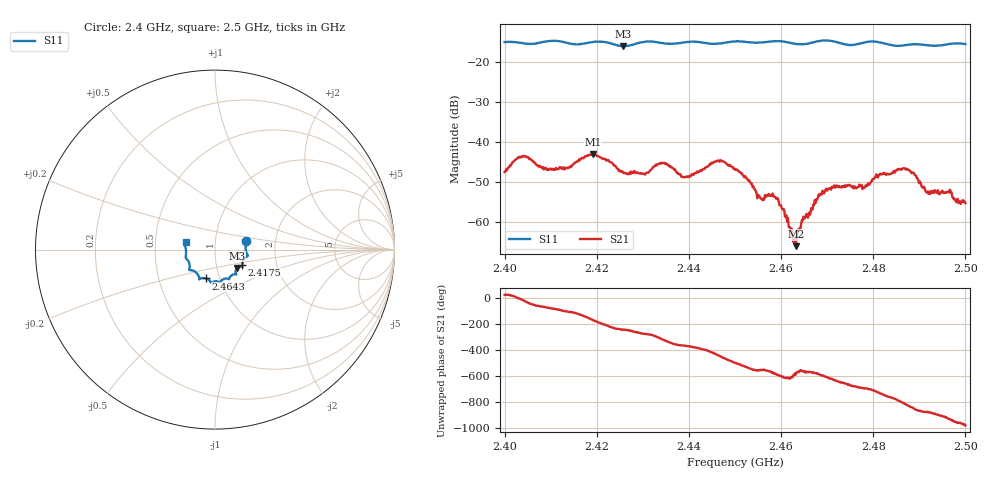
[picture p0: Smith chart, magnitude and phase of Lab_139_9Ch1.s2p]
# Hz S RI R 50
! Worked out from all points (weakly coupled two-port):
!   601 points, 2.4 GHz to 2.5 GHz, reference 50 ohm
!   highest |S21| = -42.90 dB at 2.4192 GHz (marker M1); lowest = -66.0 dB at 2.4632 GHz (marker M2)
!   lowest |S11| = -15.9 dB at 2.4257 GHz (marker M3), VSWR 1.38, Z = 62.5 - j13.1 ohm
!   |S11| at or under -10 dB: start of sweep to end of sweep
!   S12 and S22 are empty: the file has one direction only
!   S11 on the Smith chart (normalised r, x): 2.4 GHz: 1.41, +0.14; 2.4175 GHz: 1.34, -0.23; 2.4643 GHz: 0.86, -0.29; 2.5 GHz: 0.72, +0.06
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2.4e9  0.1727 0.0487  0.0039 0.00167  0 0  0 0
2.403833e9  0.1725 0.027  0.00635 -0.0018  0 0  0 0
2.409833e9  0.1827 -0.0323  0.000846 -0.00456  0 0  0 0
2.416667e9  0.1527 -0.0744  -0.00427 -0.00461  0 0  0 0
2.4175e9  0.1518 -0.0837  -0.00543 -0.0039  0 0  0 0
2.419167e9  0.1528 -0.0955  -0.00707 -0.00114  0 0  0 0
2.425667e9  0.1228 -0.1018  -0.00185 0.00378  0 0  0 0
2.433333e9  0.1133 -0.1372  0.003 0.00446  0 0  0 0
2.438833e9  0.0803 -0.1586  0.00364 -0.000428  0 0  0 0
2.4465e9  0.0441 -0.1663  0.00059 -0.00582  0 0  0 0
2.45e9  0.0291 -0.1809  -0.00347 -0.00294  0 0  0 0
2.455333e9  -0.000843 -0.1769  -0.00201 0.000578  0 0  0 0
2.459e9  -0.0221 -0.1837  -0.00127 0.00148  0 0  0 0
2.463167e9  -0.0379 -0.1661  -0.000315 0.000388  0 0  0 0
2.464333e9  -0.0497 -0.1609  -0.000889 0.000248  0 0  0 0
2.466667e9  -0.0759 -0.1593  -0.00122 0.000812  0 0  0 0
2.470167e9  -0.0883 -0.1656  -0.000823 0.00246  0 0  0 0
2.478167e9  -0.1365 -0.115  0.00249 0.00112  0 0  0 0
2.483333e9  -0.141 -0.09  0.00298 -0.00261  0 0  0 0
2.487167e9  -0.1559 -0.0548  -0.000832 -0.00453  0 0  0 0
2.491833e9  -0.1616 -0.027  -0.00224 -0.000908  0 0  0 0
2.5e9  -0.1639 0.043  -0.00029 0.00171  0 0  0 0
